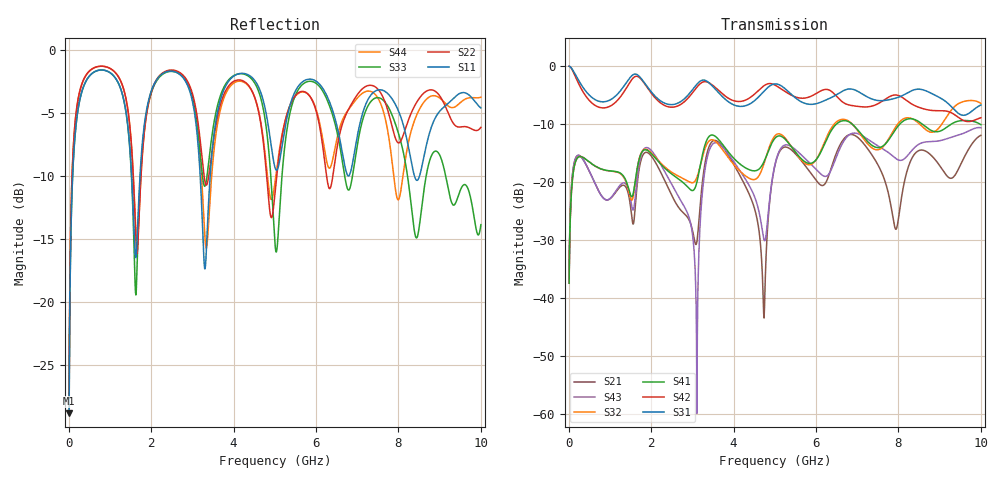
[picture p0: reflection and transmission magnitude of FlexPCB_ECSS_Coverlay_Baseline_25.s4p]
! TOUCHSTONE file generated by CST MICROWAVE STUDIO
! Date and time: Sun Jul  5 19:09:47 2026
! Project name: FlexPCB_ECSS_Coverlay_Baseline.cst
! Parameters = {Gap=1; GroundW=8; Hadh=0.025; Hcov=0.025; Hsub=0.1; L=50; Tcu=0.035; W=0.2}
! Header version: 2024
! Port assignment regex: !\s*Touchstone port\s*([0-9]+)\s*=\s*(CST MWS port|CST DES external port|CST DES block port)\s*(.+)\s* \(\"(.*)\"\)(\s*mode\s*([0-9]+))?.*
! Touchstone port assignment:
! Touchstone port 1 = CST MWS port 1 ("")
! Touchstone port 2 = CST MWS port 2 ("")
! Touchstone port 3 = CST MWS port 3 ("")
! Touchstone port 4 = CST MWS port 4 ("")
# GHz S MA R 50
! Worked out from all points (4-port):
!   1002 points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, 10 MHz to 10 GHz, reference 50 ohm
!   strongest paths, dB at 10 MHz, 2.51 GHz, 5.01 GHz, 7.503 GHz, 10 GHz:
!     S31: 0.0, -6.7, -3.1, -5.9, -6.7
!     S42: 0.0, -7.1, -3.3, -6.5, -8.9
!     S41: -37.5, -18.7, -12.4, -14.1, -10.1
!     S32: -37.5, -18.4, -12.0, -14.4, -6.4
!     S43: -36.6, -20.6, -16.8, -13.8, -10.6
!     S21: -36.6, -22.5, -16.9, -17.0, -11.9
!   lowest |S11| = -28.9 dB at 10 MHz (marker M1), VSWR 1.07, Z = 49.8 - j3.59 ohm
!   |S11| at or under -10 dB: 1.527 GHz to 1.73 GHz (202.6 MHz wide, 12.4 % of centre); 3.19 GHz to 3.432 GHz (242.6 MHz wide, 7.33 % of centre); 8.386 GHz to 8.514 GHz (127.7 MHz wide, 1.51 % of centre)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
0.01  0.03599 -91.2  0.01478 85.0  0.998 -2.5  0.01336 85.2
      0.01478 85.0  0.04163 -91.7  0.01336 85.2  0.9978 -2.8
      0.998 -2.5  0.01336 85.2  0.03598 -91.2  0.01478 85.0
      0.01336 85.2  0.9978 -2.8  0.01478 85.0  0.04163 -91.7
1.61  0.1565 161.9  0.0585 39.2  0.8528 -178.0  0.0989 -125.5
      0.0585 39.2  0.2116 141.8  0.09672 -122.0  0.8117 -173.2
      0.8528 -178.0  0.09672 -122.0  0.119 152.5  0.0717 30.7
      0.0989 -125.5  0.8117 -173.2  0.0717 30.7  0.224 141.9
3.26  0.1758 139.6  0.1114 60.0  0.7568 3.5  0.181 78.3
      0.1114 60.0  0.3399 150.7  0.1717 68.3  0.729 7.1
      0.7568 3.5  0.1717 68.3  0.3024 157.3  0.09368 68.3
      0.181 78.3  0.729 7.1  0.09368 68.3  0.2442 133.0
4.73  0.6197 149.7  0.007336 -27.5  0.6026 -144.3  0.1476 -91.5
      0.007336 -27.5  0.4183 138.1  0.1409 -79.6  0.6736 -154.7
      0.6026 -144.3  0.1409 -79.6  0.5718 130.0  0.03262 -164.2
      0.1476 -91.5  0.6736 -154.7  0.03262 -164.2  0.4316 143.4
4.99  0.3482 159.7  0.1323 34.3  0.6998 177.0  0.2351 -124.4
      0.1323 34.3  0.2543 -166.2  0.2467 -118.2  0.6896 164.5
      0.6998 177.0  0.2467 -118.2  0.1833 138.9  0.134 44.9
      0.2351 -124.4  0.6896 164.5  0.134 44.9  0.2856 -170.1
6.31  0.6312 149.2  0.1136 137.3  0.5229 38.1  0.2539 108.5
      0.1136 137.3  0.2837 174.0  0.2664 112.9  0.6229 12.3
      0.5229 38.1  0.2664 112.9  0.6096 142.6  0.1168 144.3
      0.2539 108.5  0.6229 12.3  0.1168 144.3  0.3399 173.3
10  0.5878 160.5  0.2526 -11.1  0.4611 -16.9  0.3121 30.6
    0.2526 -11.1  0.492 -171.5  0.4766 26.7  0.3581 -31.3
    0.4611 -16.9  0.4766 26.7  0.202 -145.6  0.2939 14.5
    0.3121 30.6  0.3581 -31.3  0.2939 14.5  0.6482 -179.0
